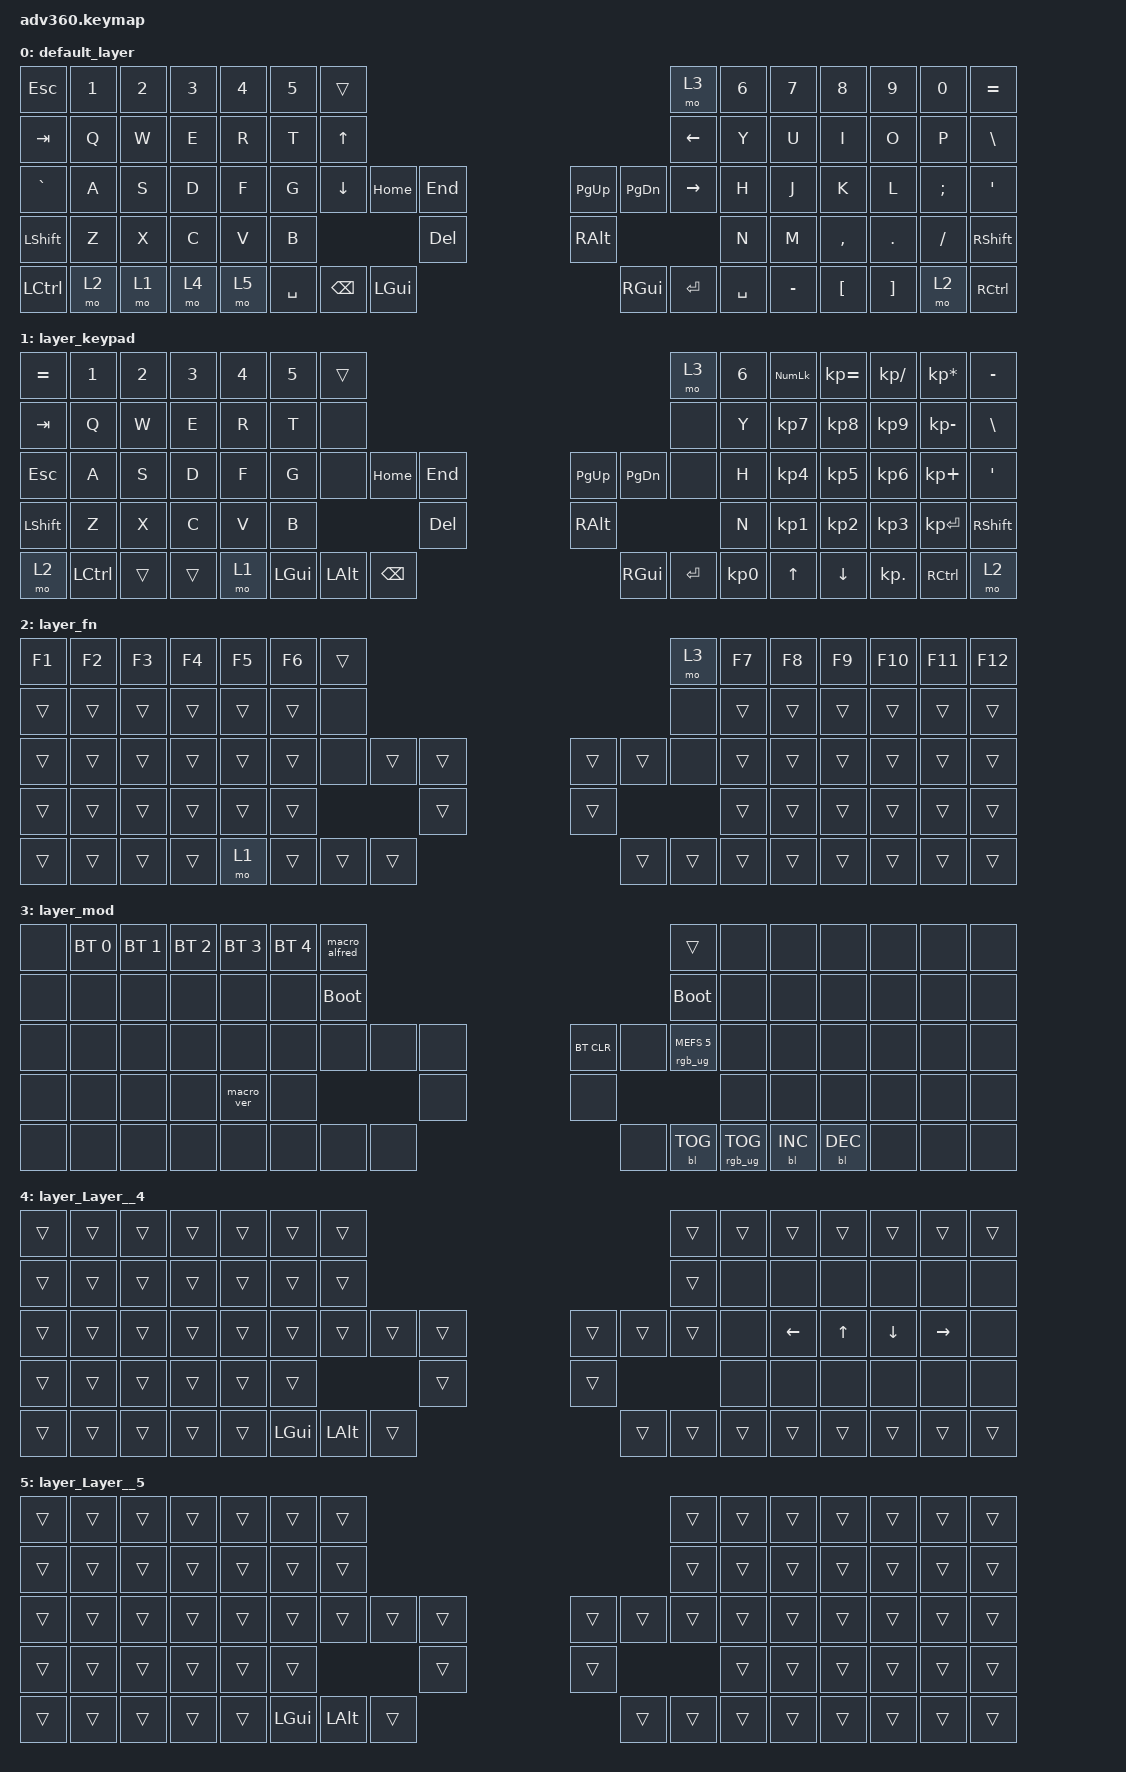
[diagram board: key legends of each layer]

/*
 * Copyright (c) 2020 The ZMK Contributors
 *
 * SPDX-License-Identifier: MIT
 */


/* THIS FILE WAS GENERATED!
 *
 * This file was generated automatically. You may or may not want to
 * edit it directly.
 */

#include <behaviors.dtsi>
#include <dt-bindings/zmk/keys.h>
#include <dt-bindings/zmk/bt.h>
#include <dt-bindings/zmk/rgb.h>
#include <dt-bindings/zmk/backlight.h>

/ {
  behaviors {
    #include "macros.dtsi"
    #include "version.dtsi"

    hm: homerow_mods {
        compatible = "zmk,behavior-hold-tap";
        label = "HOMEROW_MODS";
        #binding-cells = <2>;
        tapping-term-ms = <200>;
        quick_tap_ms = <175>;
        flavor = "tap-preferred";
        bindings = <&kp>, <&kp>;
    };
  };

    keymap {
        compatible = "zmk,keymap";


        default_layer {
            bindings = <
 &kp ESCAPE  &kp N1  &kp N2  &kp N3  &kp N4  &kp N5                    &trans                                                                                       &mo 3  &kp N6     &kp N7            &kp N8             &kp N9    &kp N0  &kp EQUAL
    &kp TAB   &kp Q   &kp W   &kp E   &kp R   &kp T              &kp UP_ARROW                                                                              &kp LEFT_ARROW   &kp Y      &kp U             &kp I              &kp O     &kp P   &kp BSLH
  &kp GRAVE   &kp A   &kp S   &kp D   &kp F   &kp G            &kp DOWN_ARROW       &kp HOME       &kp END                    &kp PAGE_UP  &kp PAGE_DOWN  &kp RIGHT_ARROW   &kp H      &kp J             &kp K              &kp L  &kp SEMI    &kp SQT
  &kp LSHFT   &kp Z   &kp X   &kp C   &kp V   &kp B                                                &kp DEL                  &kp RIGHT_ALT                                   &kp N      &kp M         &kp COMMA            &kp DOT  &kp FSLH  &kp RSHFT
  &kp LCTRL   &mo 2   &mo 1   &mo 4   &mo 5                         &kp SPACE  &kp BACKSPACE  &kp LEFT_GUI                  &kp RIGHT_GUI      &kp ENTER        &kp SPACE          &kp MINUS  &kp LEFT_BRACKET  &kp RIGHT_BRACKET     &mo 2  &kp RCTRL
            >;
        };

        layer_keypad {
            bindings = <
 &kp EQUAL            &kp N1  &kp N2  &kp N3  &kp N4  &kp N5                  &trans                                                                             &mo 3  &kp N6  &kp KP_NUM  &kp KP_EQUAL  &kp KP_DIVIDE  &kp KP_MULTIPLY  &kp MINUS
   &kp TAB             &kp Q   &kp W   &kp E   &kp R   &kp T                   &none                                                                             &none   &kp Y   &kp KP_N7     &kp KP_N8      &kp KP_N9     &kp KP_MINUS   &kp BSLH
   &kp ESC             &kp A   &kp S   &kp D   &kp F   &kp G                   &none      &kp HOME        &kp END                      &kp PG_UP  &kp PG_DN      &none   &kp H   &kp KP_N4     &kp KP_N5      &kp KP_N6      &kp KP_PLUS    &kp SQT
 &kp LSHFT             &kp Z   &kp X   &kp C   &kp V   &kp B                                              &kp DEL                  &kp RIGHT_ALT                         &kp N   &kp KP_N1     &kp KP_N2      &kp KP_N3     &kp KP_ENTER  &kp RSHFT
     &mo 2  &kp LEFT_CONTROL  &trans  &trans   &mo 1                    &kp LEFT_GUI  &kp LEFT_ALT  &kp BACKSPACE                       &kp RGUI  &kp ENTER  &kp KP_N0              &kp UP      &kp DOWN     &kp KP_DOT        &kp RCTRL      &mo 2
            >;
        };

        layer_fn {
            bindings = <
 &kp F1  &kp F2  &kp F3  &kp F4  &kp F5  &kp F6            &trans                                                   &mo 3  &kp F7  &kp F8  &kp F9  &kp F10  &kp F11  &kp F12
 &trans  &trans  &trans  &trans  &trans  &trans             &none                                                   &none  &trans  &trans  &trans   &trans   &trans   &trans
 &trans  &trans  &trans  &trans  &trans  &trans             &none  &trans  &trans                  &trans  &trans   &none  &trans  &trans  &trans   &trans   &trans   &trans
 &trans  &trans  &trans  &trans  &trans  &trans                            &trans                  &trans                  &trans  &trans  &trans   &trans   &trans   &trans
 &trans  &trans  &trans  &trans   &mo 1                    &trans  &trans  &trans                  &trans  &trans  &trans          &trans  &trans   &trans   &trans   &trans
            >;
        };

        layer_mod {
            bindings = <
  &none  &bt BT_SEL 0  &bt BT_SEL 1  &bt BT_SEL 2  &bt BT_SEL 3  &bt BT_SEL 4            &macro_alfred                                                                          &trans   &none       &none       &none   &none   &none   &none
  &none         &none         &none         &none         &none         &none              &bootloader                                                                     &bootloader   &none       &none       &none   &none   &none   &none
  &none         &none         &none         &none         &none         &none                    &none   &none   &none                  &bt BT_CLR       &none  &rgb_ug RGB_MEFS_CMD 5   &none       &none       &none   &none   &none   &none
  &none         &none         &none         &none    &macro_ver         &none                                    &none                       &none                                       &none       &none       &none   &none   &none   &none
  &none         &none         &none         &none         &none                                  &none   &none   &none                       &none  &bl BL_TOG         &rgb_ug RGB_TOG          &bl BL_INC  &bl BL_DEC   &none   &none   &none
            >;
        };

        layer_Layer__4 {
            bindings = <
 &trans  &trans  &trans  &trans  &trans  &trans                  &trans                                                        &trans  &trans          &trans        &trans          &trans           &trans  &trans
 &trans  &trans  &trans  &trans  &trans  &trans                  &trans                                                        &trans   &none           &none         &none           &none            &none   &none
 &trans  &trans  &trans  &trans  &trans  &trans                  &trans        &trans  &trans                  &trans  &trans  &trans   &none  &kp LEFT_ARROW  &kp UP_ARROW  &kp DOWN_ARROW  &kp RIGHT_ARROW   &none
 &trans  &trans  &trans  &trans  &trans  &trans                                        &trans                  &trans                   &none           &none         &none           &none            &none   &none
 &trans  &trans  &trans  &trans  &trans                    &kp LEFT_GUI  &kp LEFT_ALT  &trans                  &trans  &trans  &trans                  &trans        &trans          &trans           &trans  &trans
            >;
        };

        layer_Layer__5 {
            bindings = <
 &trans  &trans  &trans  &trans  &trans  &trans              &trans                                                        &trans  &trans  &trans  &trans  &trans  &trans  &trans
 &trans  &trans  &trans  &trans  &trans  &trans              &trans                                                        &trans  &trans  &trans  &trans  &trans  &trans  &trans
 &trans  &trans  &trans  &trans  &trans  &trans              &trans        &trans  &trans                  &trans  &trans  &trans  &trans  &trans  &trans  &trans  &trans  &trans
 &trans  &trans  &trans  &trans  &trans  &trans                                    &trans                  &trans                  &trans  &trans  &trans  &trans  &trans  &trans
 &trans  &trans  &trans  &trans  &trans                    &kp LGUI  &kp LEFT_ALT  &trans                  &trans  &trans  &trans          &trans  &trans  &trans  &trans  &trans
            >;
        };

    };
};
